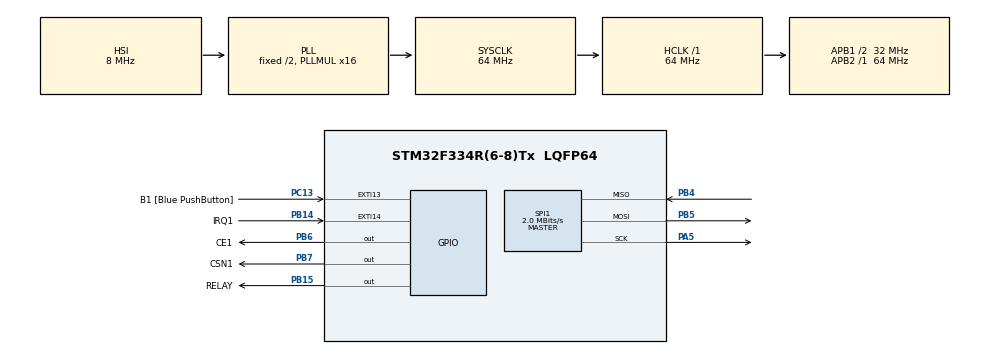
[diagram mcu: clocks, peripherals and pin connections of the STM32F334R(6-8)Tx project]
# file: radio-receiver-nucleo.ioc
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Dma.Request0=SPI1_RX
Dma.Request1=SPI1_TX
Dma.SPI1_RX.0.Direction=DMA_PERIPH_TO_MEMORY
Dma.SPI1_RX.0.Instance=DMA1_Channel2
Dma.SPI1_RX.0.MemDataAlignment=DMA_MDATAALIGN_BYTE
Dma.SPI1_RX.0.MemInc=DMA_MINC_ENABLE
Dma.SPI1_RX.0.Mode=DMA_NORMAL
Dma.SPI1_RX.0.PeriphDataAlignment=DMA_PDATAALIGN_BYTE
Dma.SPI1_RX.0.PeriphInc=DMA_PINC_DISABLE
Dma.SPI1_RX.0.Priority=DMA_PRIORITY_LOW
Dma.SPI1_TX.1.Direction=DMA_MEMORY_TO_PERIPH
Dma.SPI1_TX.1.Instance=DMA1_Channel3
Dma.SPI1_TX.1.MemDataAlignment=DMA_MDATAALIGN_BYTE
Dma.SPI1_TX.1.MemInc=DMA_MINC_ENABLE
Dma.SPI1_TX.1.Mode=DMA_NORMAL
Dma.SPI1_TX.1.PeriphDataAlignment=DMA_PDATAALIGN_BYTE
Dma.SPI1_TX.1.PeriphInc=DMA_PINC_DISABLE
Dma.SPI1_TX.1.Priority=DMA_PRIORITY_LOW
Mcu.Family=STM32F3
Mcu.Name=STM32F334R(6-8)Tx
Mcu.Package=LQFP64
NVIC.DMA1_Channel2_IRQn=true\:0\:0\:false\:false\:true\:false\:true
NVIC.DMA1_Channel3_IRQn=true\:0\:0\:false\:false\:true\:false\:true
NVIC.EXTI15_10_IRQn=true\:0\:0\:false\:false\:true\:true\:true
NVIC.PriorityGroup=NVIC_PRIORITYGROUP_0
PA13.GPIO_Label=TMS
PA13.Mode=Trace_Asynchronous_SW
PA13.Signal=SYS_JTMS-SWDIO
PA14.GPIO_Label=TCK
PA14.Mode=Trace_Asynchronous_SW
PA14.Signal=SYS_JTCK-SWCLK
PA2.GPIO_Label=USART_TX
PA2.Signal=USART2_TX
PA3.GPIO_Label=USART_RX
PA3.Signal=USART2_RX
PA5.Mode=Full_Duplex_Master
PA5.Signal=SPI1_SCK
PB14.GPIO_Label=IRQ1
PB14.GPIO_ModeDefaultEXTI=GPIO_MODE_IT_FALLING
PB14.Signal=GPXTI14
PB15.GPIO_Label=RELAY
PB15.GPIO_PuPd=GPIO_NOPULL
PB15.Signal=GPIO_Output
PB3.Mode=Trace_Asynchronous_SW
PB3.Signal=SYS_JTDO-TRACESWO
PB4.Mode=Full_Duplex_Master
PB4.Signal=SPI1_MISO
PB5.Mode=Full_Duplex_Master
PB5.Signal=SPI1_MOSI
PB6.GPIO_Label=CE1
PB6.GPIO_PuPd=GPIO_NOPULL
PB6.Signal=GPIO_Output
PB7.GPIO_Label=CSN1
PB7.Signal=GPIO_Output
PC13.GPIO_Label=B1 [Blue PushButton]
PC13.GPIO_ModeDefaultEXTI=GPIO_MODE_IT_FALLING
PC13.Signal=GPXTI13
PC14\ /\ OSC32_IN.Mode=LSE-External-Oscillator
PC14\ /\ OSC32_IN.Signal=RCC_OSC32_IN
PC15\ /\ OSC32_OUT.GPIO_Label=RCC_OSC32_OUT
PC15\ /\ OSC32_OUT.Mode=LSE-External-Oscillator
PC15\ /\ OSC32_OUT.Signal=RCC_OSC32_OUT
PF0\ /\ OSC_IN.Mode=HSE-External-Clock-Source
PF0\ /\ OSC_IN.Signal=RCC_OSC_IN
PF1\ /\ OSC_OUT.Signal=RCC_OSC_OUT
ProjectManager.HeapSize=0x200
ProjectManager.StackSize=0x400
ProjectManager.TargetToolchain=MDK-ARM V5
RCC.AHBFreq_Value=64000000
RCC.APB1CLKDivider=RCC_HCLK_DIV2
RCC.APB1Freq_Value=32000000
RCC.APB1TimFreq_Value=64000000
RCC.APB2Freq_Value=64000000
RCC.APB2TimFreq_Value=64000000
RCC.CortexFreq_Value=64000000
RCC.FLatency-AdvancedSettings=FLASH_LATENCY_2
RCC.HCLKFreq_Value=64000000
RCC.HSE_VALUE=8000000
RCC.HSI_VALUE=8000000
RCC.PLLMUL=RCC_PLL_MUL16
RCC.SYSCLKFreq_VALUE=64000000
RCC.SYSCLKSourceVirtual=RCC_SYSCLKSOURCE_PLLCLK
SPI1.BaudRatePrescaler=SPI_BAUDRATEPRESCALER_32
SPI1.CalculateBaudRate=2.0 MBits/s
SPI1.DataSize=SPI_DATASIZE_8BIT
SPI1.Direction=SPI_DIRECTION_2LINES
SPI1.Mode=SPI_MODE_MASTER
SPI1.VirtualType=VM_MASTER
board=NUCLEO-F334R8

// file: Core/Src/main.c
/* USER CODE BEGIN Header */
/**
  ******************************************************************************
  * @file           : main.c
  * @brief          : Main program body
  ******************************************************************************
  * @attention
  *
  * <h2><center>&copy; Copyright (c) 2021 STMicroelectronics.
  * All rights reserved.</center></h2>
  *
  * This software component is licensed by ST under BSD 3-Clause license,
  * the "License"; You may not use this file except in compliance with the
  * License. You may obtain a copy of the License at:
  *                        opensource.org/licenses/BSD-3-Clause
  *
  ******************************************************************************
  */
/* USER CODE END Header */
#include "main.h"

/* USER CODE BEGIN Includes */
#include "NRF24.h"

#include <string.h>
#include <stdio.h>

/* USER CODE END Includes */

SPI_HandleTypeDef hspi1;
DMA_HandleTypeDef hdma_spi1_rx;
DMA_HandleTypeDef hdma_spi1_tx;

/* USER CODE BEGIN PV */
char str1[150]={0};
uint8_t dt_reg=0;
uint8_t receive=0x03;
/* USER CODE END PV */

void SystemClock_Config(void);
static void MX_GPIO_Init(void);
static void MX_SPI1_Init(void);
static void MX_DMA_Init(void);

int main(void)
{
  /* USER CODE BEGIN 1 */

	uint8_t retr_cnt, dt;
	uint8_t i=0;
  /* USER CODE END 1 */

  /* MCU Configuration--------------------------------------------------------*/

  /* Reset of all peripherals, Initializes the Flash interface and the Systick. */
  HAL_Init();

  /* Configure the system clock */
  SystemClock_Config();

  /* Initialize all configured peripherals */
  MX_GPIO_Init();
  MX_SPI1_Init();
  MX_DMA_Init();
  /* USER CODE BEGIN 2 */
	//LED8_TGL;
	NRF24_ini();
	HAL_Delay(200);
	//NRF24_ini2();
//	void HAL_GPIO_EXTI_Callback(uint16_t GPIO_Pin);//receive with interrupt
  /* USER CODE END 2 */

  /* Infinite loop */
  while (1)
  {

    /* USER CODE BEGIN 3 */
							i=0;
//		do
//		{
			HAL_Delay(300);
//			receive=NRF24L01_Receive();
//			i++;
//		}
//		while (receive!=0x85 && receive!=0x6F && i<15);

//		if (receive==0x6F){
			//LED2_OFF;
//			RELAY_OFF;}
//
//		else if (receive==0x85){
			HAL_Delay(300);
			//LED2_ON;
//			RELAY_ON;}

	dt_reg = NRF24_ReadReg(CONFIG);

  sprintf(str1,"CONFIG: 0x%02X\r\n",dt_reg);
	sprintf(str1,"CONFIG: 0x%02X\r\n",dt_reg);
//  HAL_UART_Transmit(&huart1,(uint8_t*)str1,strlen(str1),0x1000);

  dt_reg = NRF24_ReadReg(EN_AA);

  sprintf(str1,"EN_AA: 0x%02X\r\n",receive);

//  HAL_UART_Transmit(&huart1,(uint8_t*)str1,strlen(str1),0x1000);

  dt_reg = NRF24_ReadReg(EN_RXADDR);

  sprintf(str1,"EN_RXADDR: 0x%02X\r\n",dt_reg);

//  HAL_UART_Transmit(&huart1,(uint8_t*)str1,strlen(str1),0x1000);

  dt_reg = NRF24_ReadReg(STATUS);

  sprintf(str1,"STATUS: 0x%02X\r\n",dt_reg);

//  HAL_UART_Transmit(&huart1,(uint8_t*)str1,strlen(str1),0x1000);

  dt_reg = NRF24_ReadReg(RF_SETUP);

  sprintf(str1,"RF_SETUP: 0x%02X\r\n",dt_reg);

//  HAL_UART_Transmit(&huart1,(uint8_t*)str1,strlen(str1),0x1000);

//  NRF24_Read_Buf(TX_ADDR,buf1,3);

//  sprintf(str1,"TX_ADDR: 0x%02X, 0x%02X, 0x%02Xrn",buf1[0],buf1[1],buf1[2]);

//  HAL_UART_Transmit(&huart1,(uint8_t*)str1,strlen(str1),0x1000);

//  NRF24_Read_Buf(RX_ADDR_P1,buf1,3);

//  sprintf(str1,"RX_ADDR: 0x%02X, 0x%02X, 0x%02Xrn",buf1[0],buf1[1],buf1[2]);

//  HAL_UART_Transmit(&huart1,(uint8_t*)str1,strlen(str1),0x1000);

  }
  /* USER CODE END 3 */
}

void SystemClock_Config(void)
{
  RCC_OscInitTypeDef RCC_OscInitStruct = {0};
  RCC_ClkInitTypeDef RCC_ClkInitStruct = {0};

  /** Initializes the RCC Oscillators according to the specified parameters
  * in the RCC_OscInitTypeDef structure.
  */
  RCC_OscInitStruct.OscillatorType = RCC_OSCILLATORTYPE_HSI;
  RCC_OscInitStruct.HSIState = RCC_HSI_ON;
  RCC_OscInitStruct.HSICalibrationValue = RCC_HSICALIBRATION_DEFAULT;
  RCC_OscInitStruct.PLL.PLLState = RCC_PLL_ON;
  RCC_OscInitStruct.PLL.PLLSource = RCC_PLLSOURCE_HSI;
  RCC_OscInitStruct.PLL.PLLMUL = RCC_PLL_MUL16;
  if (HAL_RCC_OscConfig(&RCC_OscInitStruct) != HAL_OK)
  {
    Error_Handler();
  }
  /** Initializes the CPU, AHB and APB buses clocks
  */
  RCC_ClkInitStruct.ClockType = RCC_CLOCKTYPE_HCLK|RCC_CLOCKTYPE_SYSCLK
                              |RCC_CLOCKTYPE_PCLK1|RCC_CLOCKTYPE_PCLK2;
  RCC_ClkInitStruct.SYSCLKSource = RCC_SYSCLKSOURCE_PLLCLK;
  RCC_ClkInitStruct.AHBCLKDivider = RCC_SYSCLK_DIV1;
  RCC_ClkInitStruct.APB1CLKDivider = RCC_HCLK_DIV2;
  RCC_ClkInitStruct.APB2CLKDivider = RCC_HCLK_DIV1;

  if (HAL_RCC_ClockConfig(&RCC_ClkInitStruct, FLASH_LATENCY_2) != HAL_OK)
  {
    Error_Handler();
  }
}

static void MX_SPI1_Init(void)
{

  /* SPI1 parameter configuration*/
  hspi1.Instance = SPI1;
  hspi1.Init.Mode = SPI_MODE_MASTER;
  hspi1.Init.Direction = SPI_DIRECTION_2LINES;
  hspi1.Init.DataSize = SPI_DATASIZE_8BIT;
  hspi1.Init.CLKPolarity = SPI_POLARITY_LOW;
  hspi1.Init.CLKPhase = SPI_PHASE_1EDGE;
  hspi1.Init.NSS = SPI_NSS_SOFT;
  hspi1.Init.BaudRatePrescaler = SPI_BAUDRATEPRESCALER_32;
  hspi1.Init.FirstBit = SPI_FIRSTBIT_MSB;
  hspi1.Init.TIMode = SPI_TIMODE_DISABLE;
  hspi1.Init.CRCCalculation = SPI_CRCCALCULATION_DISABLE;
  hspi1.Init.CRCPolynomial = 7;
  hspi1.Init.CRCLength = SPI_CRC_LENGTH_DATASIZE;
  hspi1.Init.NSSPMode = SPI_NSS_PULSE_ENABLE;
  if (HAL_SPI_Init(&hspi1) != HAL_OK)
  {
    Error_Handler();
  }

}

static void MX_DMA_Init(void)
{

  /* DMA controller clock enable */
  __HAL_RCC_DMA1_CLK_ENABLE();

  /* DMA interrupt init */
  /* DMA1_Channel2_IRQn interrupt configuration */
  HAL_NVIC_SetPriority(DMA1_Channel2_IRQn, 0, 0);
  HAL_NVIC_EnableIRQ(DMA1_Channel2_IRQn);
  /* DMA1_Channel3_IRQn interrupt configuration */
  HAL_NVIC_SetPriority(DMA1_Channel3_IRQn, 0, 0);
  HAL_NVIC_EnableIRQ(DMA1_Channel3_IRQn);

}

static void MX_GPIO_Init(void)
{
  GPIO_InitTypeDef GPIO_InitStruct = {0};

  /* GPIO Ports Clock Enable */
  __HAL_RCC_GPIOC_CLK_ENABLE();
  __HAL_RCC_GPIOF_CLK_ENABLE();
  __HAL_RCC_GPIOA_CLK_ENABLE();
  __HAL_RCC_GPIOB_CLK_ENABLE();

  /*Configure GPIO pin Output Level */
  HAL_GPIO_WritePin(GPIOB, RELAY_Pin|CE1_Pin|CSN1_Pin, GPIO_PIN_RESET);

  /*Configure GPIO pin : B1_Pin */
  GPIO_InitStruct.Pin = B1_Pin;
  GPIO_InitStruct.Mode = GPIO_MODE_IT_FALLING;
  GPIO_InitStruct.Pull = GPIO_NOPULL;
  HAL_GPIO_Init(B1_GPIO_Port, &GPIO_InitStruct);

  /*Configure GPIO pins : USART_TX_Pin USART_RX_Pin */
  GPIO_InitStruct.Pin = USART_TX_Pin|USART_RX_Pin;
  GPIO_InitStruct.Mode = GPIO_MODE_AF_PP;
  GPIO_InitStruct.Pull = GPIO_NOPULL;
  GPIO_InitStruct.Speed = GPIO_SPEED_FREQ_HIGH;
  GPIO_InitStruct.Alternate = GPIO_AF7_USART2;
  HAL_GPIO_Init(GPIOA, &GPIO_InitStruct);

  /*Configure GPIO pin : IRQ1_Pin */
  GPIO_InitStruct.Pin = IRQ1_Pin;
  GPIO_InitStruct.Mode = GPIO_MODE_IT_FALLING;
  GPIO_InitStruct.Pull = GPIO_NOPULL;
  HAL_GPIO_Init(IRQ1_GPIO_Port, &GPIO_InitStruct);

  /*Configure GPIO pins : RELAY_Pin CE1_Pin CSN1_Pin */
  GPIO_InitStruct.Pin = RELAY_Pin|CE1_Pin|CSN1_Pin;
  GPIO_InitStruct.Mode = GPIO_MODE_OUTPUT_PP;
  GPIO_InitStruct.Pull = GPIO_NOPULL;
  GPIO_InitStruct.Speed = GPIO_SPEED_FREQ_LOW;
  HAL_GPIO_Init(GPIOB, &GPIO_InitStruct);

  /* EXTI interrupt init*/
  HAL_NVIC_SetPriority(EXTI15_10_IRQn, 0, 0);
  HAL_NVIC_EnableIRQ(EXTI15_10_IRQn);

}

void Error_Handler(void)
{
  __disable_irq();
  while (1)
  {
  }
}

/************************ (C) COPYRIGHT STMicroelectronics *****END OF FILE****/
